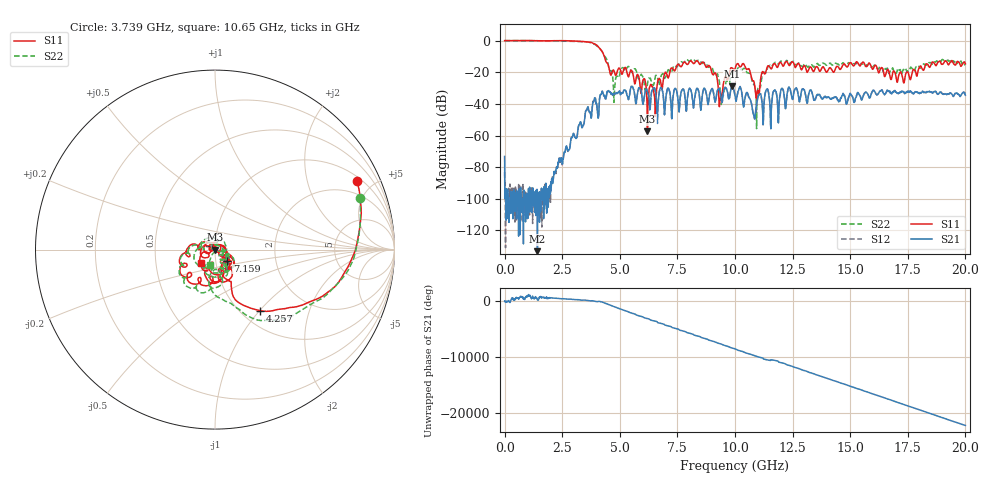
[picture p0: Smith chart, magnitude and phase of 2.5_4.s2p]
#  HZ  S  RI  R  50.00
! Rohde & Schwarz Vector Network Analyzer
! Rohde-Schwarz,ZNB20-2Port,1311601062102128,3.60
! Created: UTC 4/29/2024, 2:52:30 PM
! freq[Hz]  re:S11  im:S11  re:S21  im:S21  re:S12  im:S12  re:S22  im:S22
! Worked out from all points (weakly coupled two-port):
!   2007 points, 100 kHz to 20 GHz, reference 50 ohm
!   highest |S21| = -28.92 dB at 9.89 GHz (marker M1); lowest = -133.3 dB at 1.426 GHz (marker M2)
!   lowest |S11| = -57.4 dB at 6.201 GHz (marker M3), VSWR 1.00, Z = 49.9 - j0.0379 ohm
!   |S11| at or under -10 dB: 4.329 GHz to end of sweep
!   |S22| runs from -55.7 to 0.1 dB; largest |S21 - S12| = 0.0022
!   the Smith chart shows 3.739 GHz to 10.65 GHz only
!   S11 on the Smith chart (normalised r, x): 3.739 GHz: 1.21, +4.03; 4.257 GHz: 1.22, -1.01; 7.159 GHz: 1.14, -0.14; 10.65 GHz: 0.85, -0.13
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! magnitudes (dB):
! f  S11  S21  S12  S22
! 100 kHz  0.0  -73.2  -83.1  0.1
! 1.426 GHz  -0.1  -133.3  -96.6  -0.1
! 2.223 GHz  -0.1  -82.5  -81.8  -0.3
! 3.34 GHz  -0.6  -54.2  -54.0  -0.6
! 3.739 GHz  -1.1  -47.5  -47.2  -1.3
! 4.257 GHz  -7.5  -33.0  -32.6  -7.6
! 4.766 GHz  -19.8  -33.4  -33.4  -32.7
! 5.374 GHz  -22.9  -37.3  -37.3  -16.3
! 6.201 GHz  -57.4  -32.4  -32.4  -27.4
! 6.67 GHz  -24.5  -37.8  -37.8  -25.7
! 7.159 GHz  -20.8  -32.1  -32.1  -19.2
! 8.614 GHz  -13.6  -31.7  -31.7  -14.3
! 9.372 GHz  -35.9  -33.7  -33.7  -33.6
! 9.89 GHz  -17.4  -28.9  -28.9  -19.5
! 10 GHz  -17.9  -34.5  -34.4  -20.4
! 10.65 GHz  -19.4  -37.0  -37.0  -20.8
! 10.83 GHz  -26.2  -48.1  -48.2  -27.8
! 10.97 GHz  -32.0  -37.8  -37.8  -33.7
! 11.71 GHz  -14.5  -31.5  -31.5  -14.0
! 13.34 GHz  -18.0  -32.7  -32.7  -15.3
! 16.67 GHz  -19.1  -31.8  -31.8  -20.5
! 20 GHz  -14.6  -34.5  -34.5  -14.3
